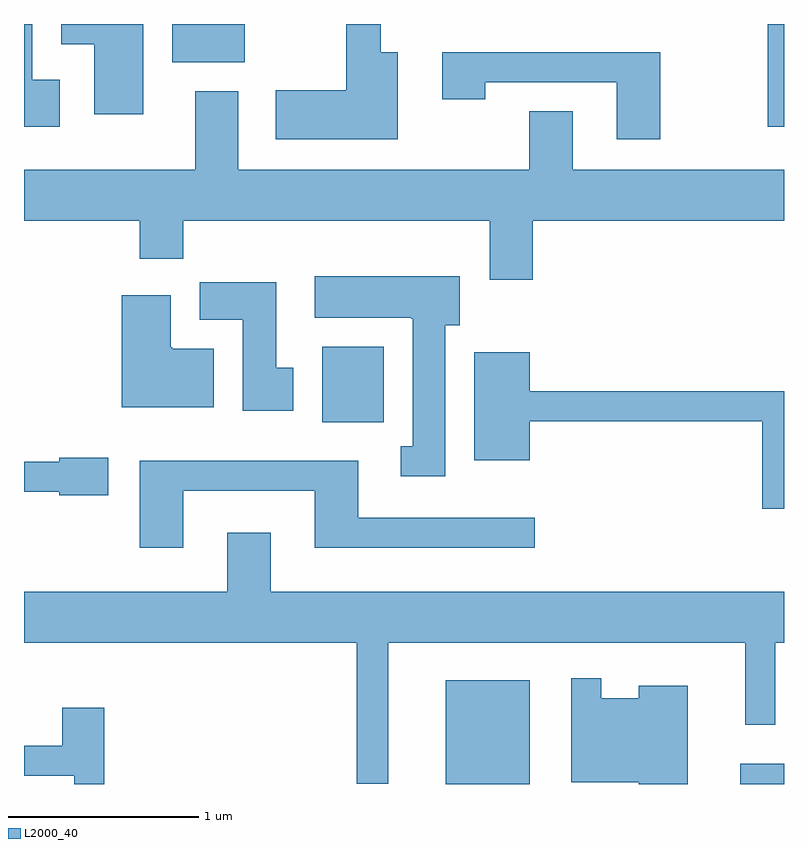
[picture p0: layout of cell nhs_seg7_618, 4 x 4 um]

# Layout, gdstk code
import gdstk
lib = gdstk.Library(unit=1e-6, precision=1e-09)
def R(c, l, rs):  # rectangles x0, y0, x1, y1
    for r in rs: c.add(gdstk.rectangle(r[:2], r[2:], *l))
def P(c, l, *ps):  # polygons
    for p in ps: c.add(gdstk.Polygon(p, *l))
L2000_40 = (2000, 40)

nhs_seg7_618 = lib.new_cell('nhs_seg7_618')
R(nhs_seg7_618, L2000_40, [(205.831,1700.252,206.274,1700.799), (207.381,1700.252,207.611,1700.359), (205.181,1702.156,205.504,1702.554), (207.526,1703.711,207.611,1704.252), (204.391,1704.051,204.774,1704.252)])
P(nhs_seg7_618, L2000_40, [(205.579,1704.104),(205.489,1704.104),(205.489,1704.252),(205.306,1704.252),(205.306,1703.904),(204.936,1703.904),(204.936,1703.646),(205.579,1703.646)],
  [(203.799,1703.959),(203.654,1703.959),(203.654,1704.252),(203.611,1704.252),(203.611,1703.711),(203.799,1703.711)],
  [(204.239,1704.252),(203.806,1704.252),(203.806,1704.146),(203.981,1704.146),(203.981,1703.776),(204.239,1703.776)],
  [(206.959,1704.104),(205.811,1704.104),(205.811,1703.856),(206.039,1703.856),(206.039,1703.946),(206.731,1703.946),(206.731,1703.646),(206.959,1703.646)],
  [(206.289,1703.216),(207.611,1703.216),(207.611,1703.484),(206.499,1703.484),(206.499,1703.794),(206.271,1703.794),(206.271,1703.484),(204.739,1703.484),(204.739,1703.899),(204.511,1703.899),(204.511,1703.484),(203.611,1703.484),(203.611,1703.216),(204.221,1703.216),(204.221,1703.016),(204.449,1703.016),(204.449,1703.216),(206.061,1703.216),(206.061,1702.906),(206.289,1702.906)],
  [(205.829,1702.666),(205.904,1702.666),(205.904,1702.924),(205.141,1702.924),(205.141,1702.706),(205.65,1702.706),(205.65,1702.7),(205.656,1702.7),(205.656,1702.029),(205.593,1702.029),(205.593,1701.871),(205.829,1701.871)],
  [(205.029,1702.444),(204.939,1702.444),(204.939,1702.894),(204.536,1702.894),(204.536,1702.696),(204.761,1702.696),(204.761,1702.216),(205.029,1702.216)],
  [(204.609,1702.544),(204.39,1702.544),(204.39,1702.55),(204.384,1702.55),(204.384,1702.824),(204.126,1702.824),(204.126,1702.236),(204.609,1702.236)],
  [(207.611,1702.319),(206.274,1702.319),(206.274,1702.524),(205.981,1702.524),(205.981,1701.956),(206.274,1701.956),(206.274,1702.161),(207.496,1702.161),(207.496,1701.701),(207.611,1701.701)],
  [(204.054,1701.969),(203.796,1701.969),(203.796,1701.949),(203.611,1701.949),(203.611,1701.791),(203.796,1701.791),(203.796,1701.771),(204.054,1701.771)],
  [(204.449,1701.796),(205.141,1701.796),(205.141,1701.496),(206.298,1701.496),(206.298,1701.654),(205.369,1701.654),(205.369,1701.954),(204.221,1701.954),(204.221,1701.496),(204.449,1701.496)],
  [(205.529,1700.996),(207.406,1700.996),(207.406,1700.563),(207.564,1700.563),(207.564,1700.996),(207.611,1700.996),(207.611,1701.264),(204.909,1701.264),(204.909,1701.574),(204.681,1701.574),(204.681,1701.264),(203.611,1701.264),(203.611,1700.996),(205.361,1700.996),(205.361,1700.253),(205.529,1700.253)],
  [(207.104,1700.769),(206.846,1700.769),(206.846,1700.704),(206.649,1700.704),(206.649,1700.808),(206.491,1700.808),(206.491,1700.261),(206.846,1700.261),(206.846,1700.252),(207.104,1700.252)],
  [(204.034,1700.654),(203.811,1700.654),(203.811,1700.454),(203.611,1700.454),(203.611,1700.296),(203.876,1700.296),(203.876,1700.252),(204.034,1700.252)])

lib.write_gds('nhs_seg7_618.gds')
